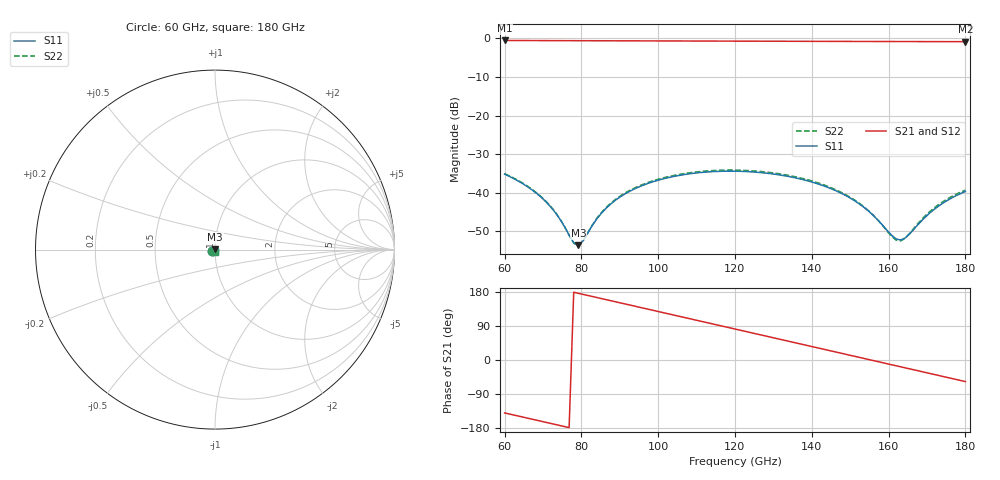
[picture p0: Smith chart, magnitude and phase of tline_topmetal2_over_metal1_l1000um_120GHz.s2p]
#  GHZ S DB R 50
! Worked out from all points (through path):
!   101 points, 60 GHz to 180 GHz, reference 50 ohm
!   highest |S21| = -0.58 dB at 60 GHz (marker M1); lowest = -0.9 dB at 180 GHz (marker M2)
!   group delay of S21, straight-line fit = 6.42 ps
!   lowest |S11| = -53.6 dB at 79.2 GHz (marker M3), VSWR 1.00, Z = 50.1 + j0.181 ohm
!   |S11| at or under -10 dB: start of sweep to end of sweep
!   |S22| runs from -53.8 to -34.1 dB; largest |S21 - S12| = 1.1e-14
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60  -35.17 -160.6  -0.58 -139.6  -0.58 -139.6  -35.04 -160.2
66  -38.45 179.7  -0.60 -153.5  -0.60 -153.5  -38.31 -179.7
70.8  -42.35 160.7  -0.62 -164.6  -0.62 -164.6  -42.22 161.6
74.4  -46.80 139.5  -0.63 -172.9  -0.63 -172.9  -46.71 140.9
78  -52.89 90.0  -0.64 178.8  -0.64 178.8  -53.04 91.2
79.2  -53.60 59.7  -0.64 176.0  -0.64 176.0  -53.80 59.7
80.4  -52.46 31.2  -0.65 173.2  -0.65 173.2  -52.55 30.4
84  -46.76 -12.7  -0.66 164.9  -0.66 164.9  -46.62 -13.3
88.8  -41.96 -37.7  -0.67 153.8  -0.67 153.8  -41.76 -37.8
93.6  -39.09 -55.3  -0.69 142.7  -0.69 142.7  -38.87 -55.0
100.8  -36.51 -77.9  -0.70 126.1  -0.70 126.1  -36.27 -77.3
110.4  -34.81 -106.0  -0.73 103.9  -0.73 103.9  -34.55 -105.1
120  -34.40 -133.5  -0.76 81.7  -0.76 81.7  -34.13 -132.2
129.6  -35.08 -161.0  -0.78 59.6  -0.78 59.6  -34.80 -159.3
140.4  -37.32 166.9  -0.81 34.6  -0.81 34.6  -37.04 169.0
152.4  -42.88 124.7  -0.84 6.9  -0.84 6.9  -42.72 127.5
156  -45.83 106.2  -0.85 -1.4  -0.85 -1.4  -45.78 109.3
160.8  -51.00 61.5  -0.86 -12.5  -0.86 -12.5  -51.28 63.3
163.2  -52.19 21.7  -0.86 -18.1  -0.86 -18.1  -52.42 20.8
164.4  -51.63 1.4  -0.86 -20.9  -0.86 -20.9  -51.66 -0.2
171.6  -44.49 -63.0  -0.88 -37.5  -0.88 -37.5  -44.11 -62.5
180  -39.66 -96.3  -0.90 -56.9  -0.90 -56.9  -39.30 -94.8
